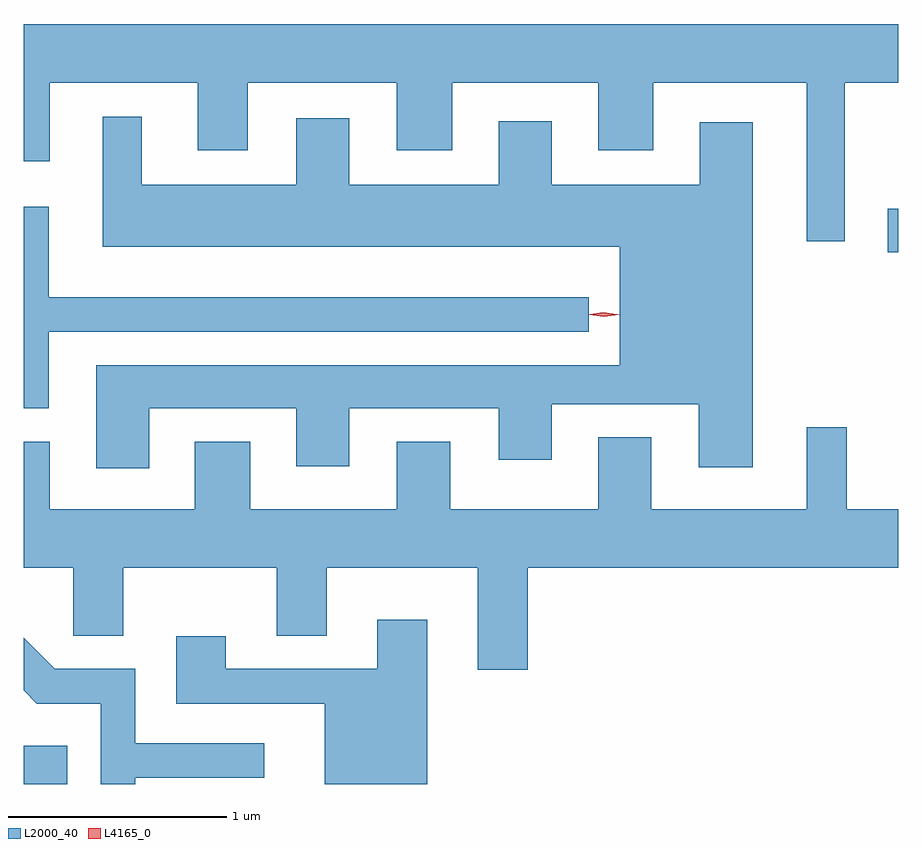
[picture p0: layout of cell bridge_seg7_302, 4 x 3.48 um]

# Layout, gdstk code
import gdstk
lib = gdstk.Library(unit=1e-6, precision=1e-09)
def R(c, l, rs):  # rectangles x0, y0, x1, y1
    for r in rs: c.add(gdstk.rectangle(r[:2], r[2:], *l))
def P(c, l, *ps):  # polygons
    for p in ps: c.add(gdstk.Polygon(p, *l))
L2000_40 = (2000, 40)
L4165_0 = (4165, 0)

bridge_seg7_302 = lib.new_cell('bridge_seg7_302')
R(bridge_seg7_302, L2000_40, [(1416.034,1755.508,1416.234,1755.684), (1419.986,1757.941,1420.034,1758.139)])
P(bridge_seg7_302, L2000_40, [(1419.789,1758.716),(1420.034,1758.716),(1420.034,1758.984),(1416.034,1758.984),(1416.034,1758.356),(1416.154,1758.356),(1416.154,1758.716),(1416.831,1758.716),(1416.831,1758.406),(1417.059,1758.406),(1417.059,1758.716),(1417.741,1758.716),(1417.741,1758.406),(1417.994,1758.406),(1417.994,1758.716),(1418.661,1758.716),(1418.661,1758.406),(1418.914,1758.406),(1418.914,1758.716),(1419.616,1758.716),(1419.616,1757.991),(1419.789,1757.991)],
  [(1416.609,1757.226),(1417.281,1757.226),(1417.281,1756.961),(1417.524,1756.961),(1417.524,1757.226),(1418.206,1757.226),(1418.206,1756.991),(1418.449,1756.991),(1418.449,1757.246),(1419.121,1757.246),(1419.121,1756.956),(1419.369,1756.956),(1419.369,1758.534),(1419.126,1758.534),(1419.126,1758.249),(1418.449,1758.249),(1418.449,1758.539),(1418.206,1758.539),(1418.206,1758.249),(1417.524,1758.249),(1417.524,1758.554),(1417.281,1758.554),(1417.281,1758.249),(1416.574,1758.249),(1416.574,1758.559),(1416.396,1758.559),(1416.396,1757.966),(1418.761,1757.966),(1418.761,1757.424),(1416.366,1757.424),(1416.366,1756.951),(1416.609,1756.951)],
  [(1416.149,1757.576),(1418.618,1757.576),(1418.618,1757.734),(1416.149,1757.734),(1416.149,1758.149),(1416.034,1758.149),(1416.034,1757.226),(1416.149,1757.226)],
  [(1416.154,1757.074),(1416.034,1757.074),(1416.034,1756.496),(1416.261,1756.496),(1416.261,1756.186),(1416.489,1756.186),(1416.489,1756.496),(1417.191,1756.496),(1417.191,1756.186),(1417.419,1756.186),(1417.419,1756.496),(1418.111,1756.496),(1418.111,1756.031),(1418.339,1756.031),(1418.339,1756.496),(1420.034,1756.496),(1420.034,1756.764),(1419.799,1756.764),(1419.799,1757.139),(1419.616,1757.139),(1419.616,1756.764),(1418.904,1756.764),(1418.904,1757.094),(1418.661,1757.094),(1418.661,1756.764),(1417.984,1756.764),(1417.984,1757.074),(1417.741,1757.074),(1417.741,1756.764),(1417.069,1756.764),(1417.069,1757.074),(1416.816,1757.074),(1416.816,1756.764),(1416.154,1756.764)],
  [(1417.879,1756.259),(1417.651,1756.259),(1417.651,1756.034),(1416.959,1756.034),(1416.959,1756.184),(1416.731,1756.184),(1416.731,1755.876),(1417.411,1755.876),(1417.411,1755.508),(1417.879,1755.508)],
  [(1416.544,1755.536),(1417.133,1755.536),(1417.133,1755.694),(1416.544,1755.694),(1416.544,1756.034),(1416.177,1756.034),(1416.034,1756.177),(1416.034,1755.936),(1416.094,1755.876),(1416.386,1755.876),(1416.386,1755.508),(1416.544,1755.508)])
P(bridge_seg7_302, L4165_0, [(1418.686,1757.646),(1418.623,1757.655),(1418.623,1757.655),(1418.623,1757.656),(1418.685,1757.665),(1418.747,1757.656),(1418.748,1757.656),(1418.747,1757.655)],
  [(1418.688,1757.644),(1418.62,1757.654),(1418.619,1757.655),(1418.62,1757.655),(1418.689,1757.664),(1418.757,1757.655),(1418.758,1757.654),(1418.757,1757.654)])

lib.write_gds('bridge_seg7_302.gds')
